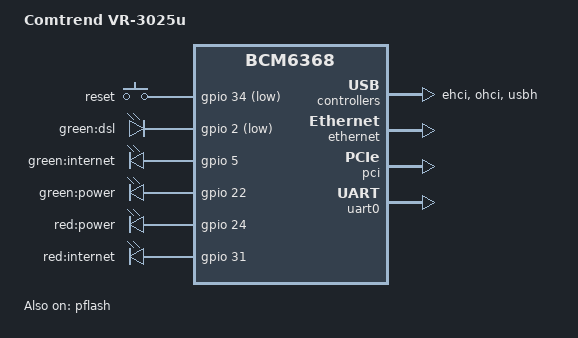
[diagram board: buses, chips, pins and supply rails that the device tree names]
// SPDX-License-Identifier: GPL-2.0-or-later

#include "bcm6368.dtsi"

/ {
	model = "Comtrend VR-3025u";
	compatible = "comtrend,vr-3025u", "brcm,bcm6368";

	aliases {
		led-boot = &led_power_green;
		led-failsafe = &led_power_red;
		led-running = &led_power_green;
		led-upgrade = &led_power_green;

		led-dsl = &led_dsl_green;
		led-internet = &led_internet_green;
	};

	keys {
		compatible = "gpio-keys-polled";
		poll-interval = <20>;

		reset {
			label = "reset";
			gpios = <&gpio 34 GPIO_ACTIVE_LOW>;
			linux,code = <KEY_RESTART>;
			debounce-interval = <60>;
		};
	};

	leds {
		compatible = "gpio-leds";

		led_dsl_green: led@2 {
			label = "green:dsl";
			gpios = <&gpio 2 GPIO_ACTIVE_LOW>;
		};

		led_internet_green: led@5 {
			label = "green:internet";
			gpios = <&gpio 5 GPIO_ACTIVE_HIGH>;
		};

		led_power_green: led@22 {
			label = "green:power";
			gpios = <&gpio 22 GPIO_ACTIVE_HIGH>;
		};

		led_power_red: led@24 {
			label = "red:power";
			gpios = <&gpio 24 GPIO_ACTIVE_HIGH>;
		};

		led@31 {
			label = "red:internet";
			gpios = <&gpio 31 GPIO_ACTIVE_HIGH>;
		};
	};

	bcm43222-sprom {
		compatible = "brcm,bcm43222-sprom";

		pci-bus = <0>;
		pci-dev = <1>;

		mtd-mac-address = <&cfe 0x6a0>;
		mtd-mac-address-increment = <1>;

		brcm,sprom-fixups = <97 0xfeb3>,
				    <98 0x1618>,
				    <99 0xfab0>,
				    <113 0xfed1>,
				    <114 0x1609>,
				    <115 0xfad9>;
	};
};

&ehci {
	status = "okay";
};

&ethernet {
	status = "okay";

	mtd-mac-address = <&cfe 0x6a0>;
};

&ohci {
	status = "okay";
};

&pci {
	status = "okay";
};

&pflash {
	status = "okay";

	partitions {
		compatible = "fixed-partitions";
		#address-cells = <1>;
		#size-cells = <1>;

		cfe: partition@0 {
			label = "CFE";
			reg = <0x0000000 0x0020000>;
			read-only;
		};

		partition@20000 {
			compatible = "brcm,bcm963xx-imagetag";
			label = "firmware";
			reg = <0x0020000 0x1fc0000>;
		};

		partition@1fe0000 {
			label = "nvram";
			reg = <0x1fe0000 0x020000>;
		};
	};
};

&pinctrl {
	pinctrl-names = "default";
	pinctrl-0 = <&pinctrl_ephy0_led &pinctrl_ephy1_led
		     &pinctrl_ephy2_led &pinctrl_ephy3_led>;
};

&switch0 {
	ports {
		port@0 {
			reg = <0>;
			label = "lan1";

			phy-handle = <&phy1>;
		};

		port@1 {
			reg = <1>;
			label = "lan2";

			phy-handle = <&phy2>;
		};

		port@2 {
			reg = <2>;
			label = "lan3";

			phy-handle = <&phy3>;
		};

		port@3 {
			reg = <3>;
			label = "lan4";

			phy-handle = <&phy4>;
		};
	};
};

&uart0 {
	status = "okay";
};

&usbh {
	status = "okay";
};
